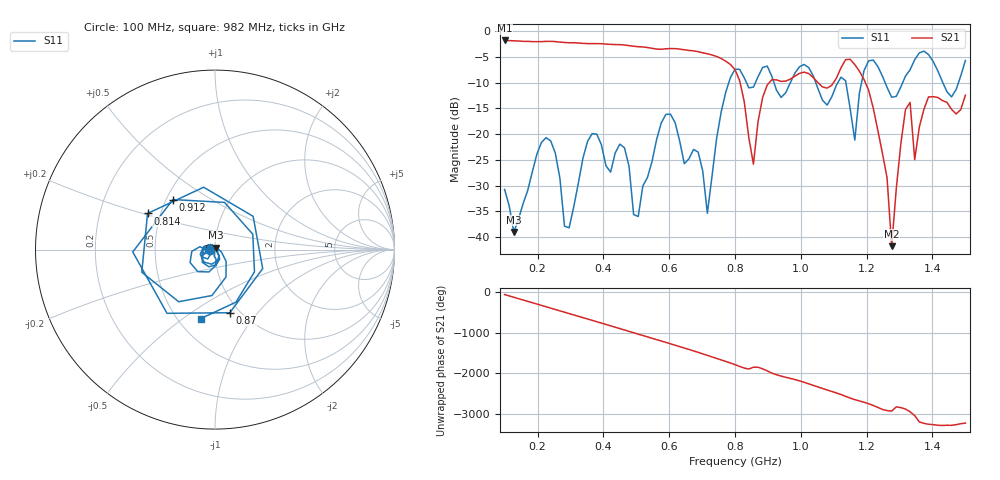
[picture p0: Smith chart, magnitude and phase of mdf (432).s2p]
! NanoVNA-App
! Date: 2025-09-25 15:41:47
! Start: 100MHz Stop: 1,5GHz Points: 101
! S-Parameter data: F S11 S21 S12 S22
# Hz S RI R 50
!  Frequency  S11_Real  S11_Imag  S21_Real  S21_Imag  S12_Real  S12_Imag  S22_Real  S22_Imag
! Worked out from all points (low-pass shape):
!   101 points, 100 MHz to 1.5 GHz, reference 50 ohm
!   highest |S21| = -1.80 dB at 100 MHz (marker M1); lowest = -41.7 dB at 1.276 GHz (marker M2)
!   |S21| within 3 dB of the highest: start of sweep to 739.1 MHz
!   lowest |S11| = -39.0 dB at 128 MHz (marker M3), VSWR 1.02, Z = 50.3 + j1.08 ohm
!   |S11| at or under -10 dB: start of sweep to 781.1 MHz; 918.5 MHz to 968.2 MHz (49.73 MHz wide, 5.27 % of centre); 1.045 GHz to 1.112 GHz (67.03 MHz wide, 6.21 % of centre) (the widest 3 of 7)
!   S12 and S22 are empty: the file has one direction only
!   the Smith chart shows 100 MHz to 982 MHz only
!   S11 on the Smith chart (normalised r, x): 100 MHz: 0.94, -0.01; 814 MHz: 0.42, +0.21; 870 MHz: 0.90, -0.73; 912 MHz: 0.54, +0.35; 982 MHz: 0.65, -0.59
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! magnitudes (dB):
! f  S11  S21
! 100 MHz  -30.7  -1.8
! 128 MHz  -39.0  -1.9
! 212 MHz  -21.6  -2.0
! 282 MHz  -37.9  -2.2
! 338 MHz  -24.6  -2.4
! 464 MHz  -22.6  -2.7
! 506 MHz  -36.0  -3.0
! 576 MHz  -17.8  -3.5
! 716 MHz  -35.3  -4.4
! 800 MHz  -7.4  -7.5
! 814 MHz  -7.4  -9.6
! 856 MHz  -10.9  -25.8
! 870 MHz  -8.8  -17.6
! 912 MHz  -8.8  -9.4
! 982 MHz  -8.1  -8.7
! 1.038 GHz  -8.7  -9.0
! 1.164 GHz  -21.1  -6.5
! 1.192 GHz  -7.6  -9.4
! 1.276 GHz  -12.8  -41.7
! 1.318 GHz  -8.7  -15.2
! 1.346 GHz  -5.5  -24.9
! 1.5 GHz  -5.7  -12.4
